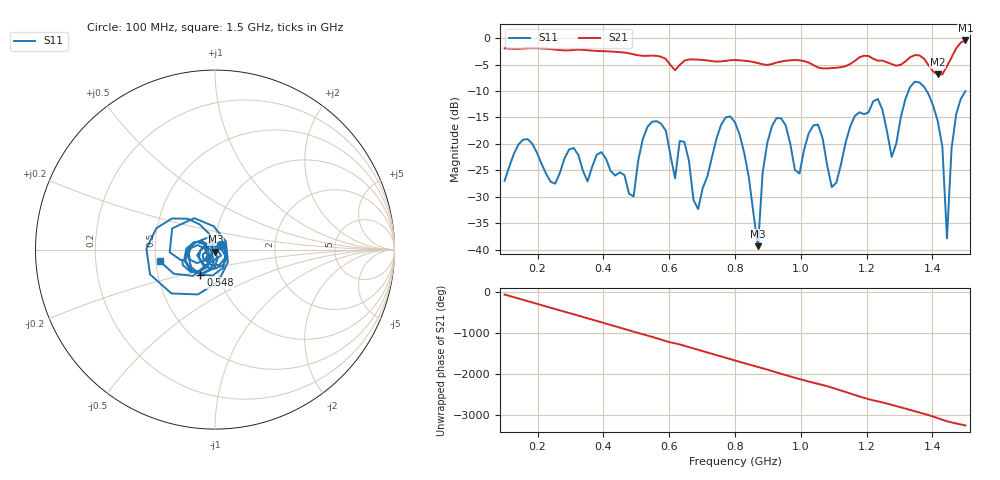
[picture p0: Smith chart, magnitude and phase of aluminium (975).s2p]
! NanoVNA-App
! Date: 2025-09-25 15:02:52
! Start: 100MHz Stop: 1,5GHz Points: 101
! S-Parameter data: F S11 S21 S12 S22
# Hz S RI R 50
!  Frequency  S11_Real  S11_Imag  S21_Real  S21_Imag  S12_Real  S12_Imag  S22_Real  S22_Imag
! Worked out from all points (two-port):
!   101 points, 100 MHz to 1.5 GHz, reference 50 ohm
!   highest |S21| = -0.44 dB at 1.5 GHz (marker M1); lowest = -6.9 dB at 1.416 GHz (marker M2)
!   |S21| within 3 dB of the highest: start of sweep to 569.3 MHz; 1.46 GHz to end of sweep (the widest 2 of 4)
!   lowest |S11| = -39.3 dB at 870 MHz (marker M3), VSWR 1.02, Z = 50.2 - j1.07 ohm
!   |S11| at or under -10 dB: start of sweep to 1.327 GHz; 1.382 GHz to end of sweep
!   S12 and S22 are empty: the file has one direction only
!   S11 on the Smith chart (normalised r, x): 100 MHz: 1.07, +0.06; 548 MHz: 0.82, -0.24; 1.5 GHz: 0.52, -0.07
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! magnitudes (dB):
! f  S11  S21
! 100 MHz  -27.0  -1.9
! 170 MHz  -19.1  -1.9
! 338 MHz  -25.1  -2.2
! 492 MHz  -29.9  -3.1
! 548 MHz  -15.8  -3.3
! 576 MHz  -16.2  -3.5
! 618 MHz  -26.5  -6.1
! 646 MHz  -19.6  -4.3
! 688 MHz  -32.3  -4.1
! 800 MHz  -15.9  -4.1
! 870 MHz  -39.3  -4.7
! 912 MHz  -16.7  -4.9
! 996 MHz  -25.6  -4.2
! 1.038 GHz  -16.5  -5.1
! 1.094 GHz  -28.2  -5.7
! 1.234 GHz  -11.5  -4.3
! 1.276 GHz  -22.5  -4.9
! 1.346 GHz  -8.2  -3.2
! 1.416 GHz  -15.7  -6.9
! 1.444 GHz  -37.8  -5.3
! 1.458 GHz  -20.9  -3.7
! 1.5 GHz  -10.0  -0.4
